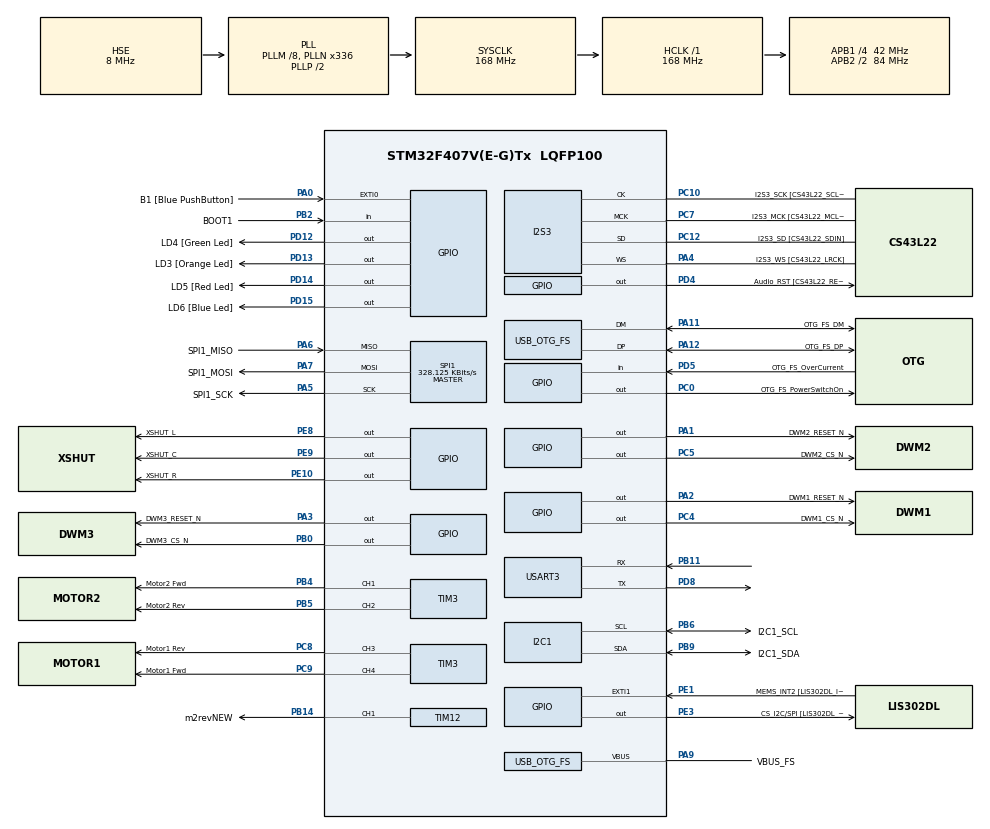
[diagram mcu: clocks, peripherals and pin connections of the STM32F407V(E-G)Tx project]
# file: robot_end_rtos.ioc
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FREERTOS.Tasks01=Motor_Task,24,1024,Start_MotorTask,Default,NULL,Dynamic,NULL,NULL;ObstDet_Task,32,1024,Start_ObstDet_Task,Default,NULL,Dynamic,NULL,NULL;TrackUser_Task,40,1024,Start_TrackUser_Task,Default,NULL,Dynamic,NULL,NULL
FREERTOS.configUSE_NEWLIB_REENTRANT=1
I2S3.AudioFreq-Half_Duplex_Master=I2S_AUDIOFREQ_96K
I2S3.ErrorAudioFreq=-2.34 %
I2S3.ErrorAudioFreq-Half_Duplex_Master=0.8 %
I2S3.FullDuplexMode=I2S_FULLDUPLEXMODE_DISABLE
I2S3.Instance=SPI$Index
I2S3.RealAudioFreq=93.75 KHz
I2S3.RealAudioFreq-Half_Duplex_Master=96.774 KHz
I2S3.VirtualMode=I2S_MODE_MASTER
Mcu.Family=STM32F4
Mcu.Name=STM32F407V(E-G)Tx
Mcu.Package=LQFP100
NVIC.OTG_FS_IRQn=true\:5\:0\:false\:false\:true\:true\:true\:true\:true
NVIC.PriorityGroup=NVIC_PRIORITYGROUP_4
NVIC.TIM1_UP_TIM10_IRQn=true\:15\:0\:false\:false\:true\:false\:false\:true\:true
NVIC.TimeBase=TIM1_UP_TIM10_IRQn
NVIC.TimeBaseIP=TIM1
PA0-WKUP.GPIO_Label=B1 [Blue PushButton]
PA0-WKUP.GPIO_ModeDefaultEXTI=GPIO_MODE_EVT_RISING
PA0-WKUP.GPIO_PuPd=GPIO_NOPULL
PA0-WKUP.Signal=GPXTI0
PA1.GPIO_Label=DWM2_RESET_N
PA1.GPIO_ModeDefaultOutputPP=GPIO_MODE_OUTPUT_OD
PA1.GPIO_PuPd=GPIO_PULLUP
PA1.Signal=GPIO_Output
PA10.GPIO_Label=OTG_FS_ID
PA10.GPIO_Mode=GPIO_MODE_AF_PP
PA10.GPIO_PuPd=GPIO_NOPULL
PA10.GPIO_Speed=GPIO_SPEED_FREQ_LOW
PA10.Signal=USB_OTG_FS_ID
PA11.GPIO_Label=OTG_FS_DM
PA11.GPIO_Mode=GPIO_MODE_AF_PP
PA11.GPIO_PuPd=GPIO_NOPULL
PA11.GPIO_Speed=GPIO_SPEED_FREQ_LOW
PA11.Mode=Host_Only
PA11.Signal=USB_OTG_FS_DM
PA12.GPIO_Label=OTG_FS_DP
PA12.GPIO_Mode=GPIO_MODE_AF_PP
PA12.GPIO_PuPd=GPIO_NOPULL
PA12.GPIO_Speed=GPIO_SPEED_FREQ_LOW
PA12.Mode=Host_Only
PA12.Signal=USB_OTG_FS_DP
PA13.GPIO_Label=SWDIO
PA13.Mode=Serial_Wire
PA13.Signal=SYS_JTMS-SWDIO
PA14.GPIO_Label=SWCLK
PA14.Mode=Serial_Wire
PA14.Signal=SYS_JTCK-SWCLK
PA2.GPIO_Label=DWM1_RESET_N
PA2.GPIO_ModeDefaultOutputPP=GPIO_MODE_OUTPUT_OD
PA2.GPIO_PuPd=GPIO_PULLUP
PA2.Signal=GPIO_Output
PA3.GPIO_Label=DWM3_RESET_N
PA3.GPIO_ModeDefaultOutputPP=GPIO_MODE_OUTPUT_OD
PA3.GPIO_PuPd=GPIO_PULLUP
PA3.Signal=GPIO_Output
PA4.GPIO_Label=I2S3_WS [CS43L22_LRCK]
PA4.GPIO_Mode=GPIO_MODE_AF_PP
PA4.GPIO_PuPd=GPIO_NOPULL
PA4.GPIO_Speed=GPIO_SPEED_FREQ_LOW
PA4.Mode=Half_Duplex_Master
PA4.Signal=I2S3_WS
PA5.GPIO_Label=SPI1_SCK
PA5.GPIO_Mode=GPIO_MODE_AF_PP
PA5.GPIO_PuPd=GPIO_NOPULL
PA5.GPIO_Speed=GPIO_SPEED_FREQ_VERY_HIGH
PA5.Mode=Full_Duplex_Master
PA5.Signal=SPI1_SCK
PA6.GPIO_Label=SPI1_MISO
PA6.GPIO_Mode=GPIO_MODE_AF_PP
PA6.GPIO_PuPd=GPIO_NOPULL
PA6.GPIO_Speed=GPIO_SPEED_FREQ_VERY_HIGH
PA6.Mode=Full_Duplex_Master
PA6.Signal=SPI1_MISO
PA7.GPIO_Label=SPI1_MOSI
PA7.GPIO_Mode=GPIO_MODE_AF_PP
PA7.GPIO_PuPd=GPIO_NOPULL
PA7.GPIO_Speed=GPIO_SPEED_FREQ_VERY_HIGH
PA7.Mode=Full_Duplex_Master
PA7.Signal=SPI1_MOSI
PA9.GPIO_Label=VBUS_FS
PA9.GPIO_Mode=GPIO_MODE_INPUT
PA9.GPIO_PuPd=GPIO_NOPULL
PA9.Mode=Activate_VBUS
PA9.Signal=USB_OTG_FS_VBUS
PB0.GPIO_Label=DWM3_CS_N
PB0.GPIO_Speed=GPIO_SPEED_FREQ_HIGH
PB0.PinState=GPIO_PIN_SET
PB0.Signal=GPIO_Output
PB10.GPIO_Label=CLK_IN [MP45DT02_CLK]
PB10.GPIO_Mode=GPIO_MODE_AF_PP
PB10.GPIO_PuPd=GPIO_NOPULL
PB10.GPIO_Speed=GPIO_SPEED_FREQ_LOW
PB10.Signal=I2S2_CK
PB11.Mode=Asynchronous
PB11.Signal=USART3_RX
PB14.GPIO_Label=m2revNEW
PB14.Signal=S_TIM12_CH1
PB2.GPIO_Label=BOOT1
PB2.GPIO_Mode=GPIO_MODE_INPUT
PB2.GPIO_PuPd=GPIO_NOPULL
PB2.Signal=GPIO_Input
PB3.GPIO_Label=SWO
PB3.Signal=SYS_JTDO-SWO
PB4.GPIO_Label=Motor2 Fwd
PB4.Signal=S_TIM3_CH1
PB5.GPIO_Label=Motor2 Rev
PB5.Signal=S_TIM3_CH2
PB6.GPIO_Label=I2C1_SCL
PB6.GPIO_Mode=GPIO_MODE_AF_OD
PB6.GPIO_Pu=GPIO_PULLUP
PB6.GPIO_PuPd=GPIO_NOPULL
PB6.GPIO_Speed=GPIO_SPEED_FREQ_LOW
PB6.Mode=I2C
PB6.Signal=I2C1_SCL
PB9.GPIO_Label=I2C1_SDA
PB9.GPIO_Mode=GPIO_MODE_AF_OD
PB9.GPIO_Pu=GPIO_PULLUP
PB9.GPIO_PuPd=GPIO_NOPULL
PB9.GPIO_Speed=GPIO_SPEED_FREQ_LOW
PB9.Mode=I2C
PB9.Signal=I2C1_SDA
PC0.GPIO_Label=OTG_FS_PowerSwitchOn
PC0.GPIO_PuPd=GPIO_NOPULL
PC0.GPIO_Speed=GPIO_SPEED_FREQ_LOW
PC0.PinState=GPIO_PIN_SET
PC0.Signal=GPIO_Output
PC10.GPIO_Label=I2S3_SCK [CS43L22_SCLK]
PC10.GPIO_Mode=GPIO_MODE_AF_PP
PC10.GPIO_PuPd=GPIO_NOPULL
PC10.GPIO_Speed=GPIO_SPEED_FREQ_LOW
PC10.Mode=Half_Duplex_Master
PC10.Signal=I2S3_CK
PC12.GPIO_Label=I2S3_SD [CS43L22_SDIN]
PC12.GPIO_Mode=GPIO_MODE_AF_PP
PC12.GPIO_PuPd=GPIO_NOPULL
PC12.GPIO_Speed=GPIO_SPEED_FREQ_LOW
PC12.Mode=Half_Duplex_Master
PC12.Signal=I2S3_SD
PC14-OSC32_IN.GPIO_Label=PC14-OSC32_IN
PC14-OSC32_IN.Mode=LSE-External-Oscillator
PC14-OSC32_IN.Signal=RCC_OSC32_IN
PC15-OSC32_OUT.GPIO_Label=PC15-OSC32_OUT
PC15-OSC32_OUT.Mode=LSE-External-Oscillator
PC15-OSC32_OUT.Signal=RCC_OSC32_OUT
PC3.GPIO_Label=PDM_OUT [MP45DT02_DOUT]
PC3.GPIO_Mode=GPIO_MODE_AF_PP
PC3.GPIO_PuPd=GPIO_NOPULL
PC3.GPIO_Speed=GPIO_SPEED_FREQ_LOW
PC3.Signal=I2S2_SD
PC4.GPIO_Label=DWM1_CS_N
PC4.GPIO_Speed=GPIO_SPEED_FREQ_HIGH
PC4.PinState=GPIO_PIN_SET
PC4.Signal=GPIO_Output
PC5.GPIO_Label=DWM2_CS_N
PC5.GPIO_Speed=GPIO_SPEED_FREQ_HIGH
PC5.PinState=GPIO_PIN_SET
PC5.Signal=GPIO_Output
PC7.GPIO_Label=I2S3_MCK [CS43L22_MCLK]
PC7.GPIO_Mode=GPIO_MODE_AF_PP
PC7.GPIO_PuPd=GPIO_NOPULL
PC7.GPIO_Speed=GPIO_SPEED_FREQ_LOW
PC7.Mode=Master_Clock_Activated
PC7.Signal=I2S3_MCK
PC8.GPIO_Label=Motor1 Rev
PC8.Signal=S_TIM3_CH3
PC9.GPIO_Label=Motor1 Fwd
PC9.Signal=S_TIM3_CH4
PD12.GPIO_Label=LD4 [Green Led]
PD12.GPIO_PuPd=GPIO_NOPULL
PD12.GPIO_Speed=GPIO_SPEED_FREQ_LOW
PD12.Signal=GPIO_Output
PD13.GPIO_Label=LD3 [Orange Led]
PD13.GPIO_PuPd=GPIO_NOPULL
PD13.GPIO_Speed=GPIO_SPEED_FREQ_LOW
PD13.Signal=GPIO_Output
PD14.GPIO_Label=LD5 [Red Led]
PD14.GPIO_PuPd=GPIO_NOPULL
PD14.GPIO_Speed=GPIO_SPEED_FREQ_LOW
PD14.Signal=GPIO_Output
PD15.GPIO_Label=LD6 [Blue Led]
PD15.GPIO_PuPd=GPIO_NOPULL
PD15.GPIO_Speed=GPIO_SPEED_FREQ_LOW
PD15.Signal=GPIO_Output
PD4.GPIO_Label=Audio_RST [CS43L22_RESET]
PD4.GPIO_PuPd=GPIO_NOPULL
PD4.GPIO_Speed=GPIO_SPEED_FREQ_LOW
PD4.Signal=GPIO_Output
PD5.GPIO_Label=OTG_FS_OverCurrent
PD5.GPIO_Mode=GPIO_MODE_INPUT
PD5.GPIO_PuPd=GPIO_NOPULL
PD5.Signal=GPIO_Input
PD8.Mode=Asynchronous
PD8.Signal=USART3_TX
PE1.GPIO_Label=MEMS_INT2 [LIS302DL_INT2]
PE1.GPIO_ModeDefaultEXTI=GPIO_MODE_EVT_RISING
PE1.GPIO_PuPd=GPIO_NOPULL
PE1.Signal=GPXTI1
PE10.GPIO_Label=XSHUT_R
PE10.Signal=GPIO_Output
PE3.GPIO_Label=CS_I2C/SPI [LIS302DL_CS_I2C/SPI]
PE3.GPIO_PuPd=GPIO_NOPULL
PE3.GPIO_Speed=GPIO_SPEED_FREQ_LOW
PE3.PinState=GPIO_PIN_SET
PE3.Signal=GPIO_Output
PE8.GPIO_Label=XSHUT_L
PE8.Signal=GPIO_Output
PE9.GPIO_Label=XSHUT_C
PE9.Signal=GPIO_Output
PH0-OSC_IN.GPIO_Label=PH0-OSC_IN
PH0-OSC_IN.Mode=HSE-External-Oscillator
PH0-OSC_IN.Signal=RCC_OSC_IN
PH1-OSC_OUT.GPIO_Label=PH1-OSC_OUT
PH1-OSC_OUT.Mode=HSE-External-Oscillator
PH1-OSC_OUT.Signal=RCC_OSC_OUT
ProjectManager.HeapSize=0x200
ProjectManager.StackSize=0x400
ProjectManager.TargetToolchain=STM32CubeIDE
RCC.48MHZClocksFreq_Value=48000000
RCC.AHBFreq_Value=168000000
RCC.APB1CLKDivider=RCC_HCLK_DIV4
RCC.APB1Freq_Value=42000000
RCC.APB1TimFreq_Value=84000000
RCC.APB2CLKDivider=RCC_HCLK_DIV2
RCC.APB2Freq_Value=84000000
RCC.APB2TimFreq_Value=168000000
RCC.CortexFreq_Value=168000000
RCC.HCLKFreq_Value=168000000
RCC.HSE_VALUE=8000000
RCC.HSI_VALUE=16000000
RCC.PLLM=8
RCC.PLLN=336
RCC.PLLQ=7
RCC.SYSCLKFreq_VALUE=168000000
RCC.SYSCLKSource=RCC_SYSCLKSOURCE_PLLCLK
RCC.VCOOutputFreq_Value=336000000
SH.S_TIM12_CH1.0=TIM12_CH1,PWM Generation1 CH1
SH.S_TIM3_CH1.0=TIM3_CH1,PWM Generation1 CH1
SH.S_TIM3_CH2.0=TIM3_CH2,PWM Generation2 CH2
SH.S_TIM3_CH3.0=TIM3_CH3,PWM Generation3 CH3
SH.S_TIM3_CH4.0=TIM3_CH4,PWM Generation4 CH4
SPI1.BaudRatePrescaler=SPI_BAUDRATEPRESCALER_256
SPI1.BaudRatePrescaler-Full_Duplex_Master=SPI_BAUDRATEPRESCALER_2
SPI1.CalculateBaudRate=328.125 KBits/s
SPI1.CalculateBaudRate-Full_Duplex_Master=42.0 MBits/s
SPI1.Direction=SPI_DIRECTION_2LINES
SPI1.Mode=SPI_MODE_MASTER
SPI1.Mode-Full_Duplex_Master=SPI_MODE_MASTER
SPI1.VirtualType=VM_MASTER
TIM12.Channel-PWM\ Generation1\ CH1=TIM_CHANNEL_1
TIM3.Channel-PWM\ Generation1\ CH1=TIM_CHANNEL_1
TIM3.Channel-PWM\ Generation2\ CH2=TIM_CHANNEL_2
TIM3.Channel-PWM\ Generation3\ CH3=TIM_CHANNEL_3
TIM3.Channel-PWM\ Generation4\ CH4=TIM_CHANNEL_4
USART3.VirtualMode=VM_ASYNC
USB_HOST.BSP.number=1
USB_HOST.USBH_HandleTypeDef-CDC_FS=hUsbHostFS
USB_HOST.VirtualModeFS=Cdc
USB_HOST0.BSP.STBoard=false
USB_HOST0.BSP.api=Unknown
USB_HOST0.BSP.instance=PC0
USB_HOST0.BSP.ip=GPIO
USB_HOST0.BSP.mode=Output
USB_HOST0.BSP.name=Drive_VBUS_FS
USB_HOST0.BSP.solution=PC0
USB_OTG_FS.VirtualMode=Host_Only
USB_OTG_FS.phy_itface=HCD_PHY_EMBEDDED
VP_FREERTOS_VS_CMSIS_V2.Mode=CMSIS_V2
VP_SYS_VS_tim1.Mode=TIM1
VP_USB_HOST_VS_USB_HOST_CDC_FS.Mode=CDC_FS
board=STM32F407G-DISC1

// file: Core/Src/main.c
/* USER CODE BEGIN Header */
/**
  ******************************************************************************
  * @file           : main.c
  * @brief          : Main program body
  ******************************************************************************
  * @attention
  *
  * Copyright (c) 2026 STMicroelectronics.
  * All rights reserved.
  *
  * This software is licensed under terms that can be found in the LICENSE file
  * in the root directory of this software component.
  * If no LICENSE file comes with this software, it is provided AS-IS.
  *
  ******************************************************************************
  */
/* USER CODE END Header */
#include "main.h"
#include "cmsis_os.h"
#include "usb_host.h"

/* USER CODE BEGIN Includes */
#include "VL53L1X_api.h"
#include "VL53l1X_calibration.h"
#include "motor_hw.h"
#include "obst_det.h"
#include "dwm_triangulation.h"
#include "dwm1000.h"
/* USER CODE END Includes */

I2C_HandleTypeDef hi2c1;

I2S_HandleTypeDef hi2s3;

SPI_HandleTypeDef hspi1;

TIM_HandleTypeDef htim3;
TIM_HandleTypeDef htim12;

UART_HandleTypeDef huart3;

/* Definitions for Motor_Task */
osThreadId_t Motor_TaskHandle;
const osThreadAttr_t Motor_Task_attributes = {
  .name = "Motor_Task",
  .stack_size = 1024 * 4,
  .priority = (osPriority_t) osPriorityNormal,
};
/* Definitions for ObstDet_Task */
osThreadId_t ObstDet_TaskHandle;
const osThreadAttr_t ObstDet_Task_attributes = {
  .name = "ObstDet_Task",
  .stack_size = 1024 * 4,
  .priority = (osPriority_t) osPriorityAboveNormal,
};
/* Definitions for TrackUser_Task */
osThreadId_t TrackUser_TaskHandle;
const osThreadAttr_t TrackUser_Task_attributes = {
  .name = "TrackUser_Task",
  .stack_size = 1024 * 4,
  .priority = (osPriority_t) osPriorityHigh,
};
/* USER CODE BEGIN PV */

#define VL53_ADDR   (0x29 << 1)   // 0x52

uint16_t count = 0;

RemotePosition remote_pos = {
	.valid = 0
};

bool standby;

uint8_t device_id_1[4] = {0};
uint8_t device_id_2[4] = {0};

/* USER CODE END PV */

void SystemClock_Config(void);
static void MX_GPIO_Init(void);
static void MX_I2C1_Init(void);
static void MX_I2S3_Init(void);
static void MX_SPI1_Init(void);
static void MX_USART3_UART_Init(void);
static void MX_TIM3_Init(void);
static void MX_TIM12_Init(void);
void Start_MotorTask(void *argument);
void Start_ObstDet_Task(void *argument);
void Start_TrackUser_Task(void *argument);

int main(void)
{

  /* MCU Configuration--------------------------------------------------------*/

  /* Reset of all peripherals, Initializes the Flash interface and the Systick. */
  HAL_Init();

  /* Configure the system clock */
  SystemClock_Config();

  /* Initialize all configured peripherals */
  MX_GPIO_Init();
  MX_I2C1_Init();
  MX_I2S3_Init();
  MX_SPI1_Init();
  MX_USART3_UART_Init();
  MX_TIM3_Init();
  MX_TIM12_Init();

  /* Init scheduler */
  osKernelInitialize();

  /* Create the thread(s) */
  /* creation of Motor_Task */
  Motor_TaskHandle = osThreadNew(Start_MotorTask, NULL, &Motor_Task_attributes);

  /* creation of ObstDet_Task */
  ObstDet_TaskHandle = osThreadNew(Start_ObstDet_Task, NULL, &ObstDet_Task_attributes);

  /* creation of TrackUser_Task */
  TrackUser_TaskHandle = osThreadNew(Start_TrackUser_Task, NULL, &TrackUser_Task_attributes);

  /* Start scheduler */
  osKernelStart();

  /* We should never get here as control is now taken by the scheduler */

  /* Infinite loop */
  while (1)
  {

  }
}

void SystemClock_Config(void)
{
  RCC_OscInitTypeDef RCC_OscInitStruct = {0};
  RCC_ClkInitTypeDef RCC_ClkInitStruct = {0};

  /** Configure the main internal regulator output voltage
  */
  __HAL_RCC_PWR_CLK_ENABLE();
  __HAL_PWR_VOLTAGESCALING_CONFIG(PWR_REGULATOR_VOLTAGE_SCALE1);

  /** Initializes the RCC Oscillators according to the specified parameters
  * in the RCC_OscInitTypeDef structure.
  */
  RCC_OscInitStruct.OscillatorType = RCC_OSCILLATORTYPE_HSE;
  RCC_OscInitStruct.HSEState = RCC_HSE_ON;
  RCC_OscInitStruct.PLL.PLLState = RCC_PLL_ON;
  RCC_OscInitStruct.PLL.PLLSource = RCC_PLLSOURCE_HSE;
  RCC_OscInitStruct.PLL.PLLM = 8;
  RCC_OscInitStruct.PLL.PLLN = 336;
  RCC_OscInitStruct.PLL.PLLP = RCC_PLLP_DIV2;
  RCC_OscInitStruct.PLL.PLLQ = 7;
  if (HAL_RCC_OscConfig(&RCC_OscInitStruct) != HAL_OK)
  {
    Error_Handler();
  }

  /** Initializes the CPU, AHB and APB buses clocks
  */
  RCC_ClkInitStruct.ClockType = RCC_CLOCKTYPE_HCLK|RCC_CLOCKTYPE_SYSCLK
                              |RCC_CLOCKTYPE_PCLK1|RCC_CLOCKTYPE_PCLK2;
  RCC_ClkInitStruct.SYSCLKSource = RCC_SYSCLKSOURCE_PLLCLK;
  RCC_ClkInitStruct.AHBCLKDivider = RCC_SYSCLK_DIV1;
  RCC_ClkInitStruct.APB1CLKDivider = RCC_HCLK_DIV4;
  RCC_ClkInitStruct.APB2CLKDivider = RCC_HCLK_DIV2;

  if (HAL_RCC_ClockConfig(&RCC_ClkInitStruct, FLASH_LATENCY_5) != HAL_OK)
  {
    Error_Handler();
  }
}

static void MX_I2C1_Init(void)
{

  hi2c1.Instance = I2C1;
  hi2c1.Init.ClockSpeed = 100000;
  hi2c1.Init.DutyCycle = I2C_DUTYCYCLE_2;
  hi2c1.Init.OwnAddress1 = 0;
  hi2c1.Init.AddressingMode = I2C_ADDRESSINGMODE_7BIT;
  hi2c1.Init.DualAddressMode = I2C_DUALADDRESS_DISABLE;
  hi2c1.Init.OwnAddress2 = 0;
  hi2c1.Init.GeneralCallMode = I2C_GENERALCALL_DISABLE;
  hi2c1.Init.NoStretchMode = I2C_NOSTRETCH_DISABLE;
  if (HAL_I2C_Init(&hi2c1) != HAL_OK)
  {
    Error_Handler();
  }

}

static void MX_I2S3_Init(void)
{

  hi2s3.Instance = SPI3;
  hi2s3.Init.Mode = I2S_MODE_MASTER_TX;
  hi2s3.Init.Standard = I2S_STANDARD_PHILIPS;
  hi2s3.Init.DataFormat = I2S_DATAFORMAT_16B;
  hi2s3.Init.MCLKOutput = I2S_MCLKOUTPUT_ENABLE;
  hi2s3.Init.AudioFreq = I2S_AUDIOFREQ_96K;
  hi2s3.Init.CPOL = I2S_CPOL_LOW;
  hi2s3.Init.ClockSource = I2S_CLOCK_PLL;
  hi2s3.Init.FullDuplexMode = I2S_FULLDUPLEXMODE_DISABLE;
  if (HAL_I2S_Init(&hi2s3) != HAL_OK)
  {
    Error_Handler();
  }

}

static void MX_SPI1_Init(void)
{

  /* SPI1 parameter configuration*/
  hspi1.Instance = SPI1;
  hspi1.Init.Mode = SPI_MODE_MASTER;
  hspi1.Init.Direction = SPI_DIRECTION_2LINES;
  hspi1.Init.DataSize = SPI_DATASIZE_8BIT;
  hspi1.Init.CLKPolarity = SPI_POLARITY_LOW;
  hspi1.Init.CLKPhase = SPI_PHASE_1EDGE;
  hspi1.Init.NSS = SPI_NSS_SOFT;
  hspi1.Init.BaudRatePrescaler = SPI_BAUDRATEPRESCALER_256;
  hspi1.Init.FirstBit = SPI_FIRSTBIT_MSB;
  hspi1.Init.TIMode = SPI_TIMODE_DISABLE;
  hspi1.Init.CRCCalculation = SPI_CRCCALCULATION_DISABLE;
  hspi1.Init.CRCPolynomial = 10;
  if (HAL_SPI_Init(&hspi1) != HAL_OK)
  {
    Error_Handler();
  }

}

static void MX_TIM3_Init(void)
{

  TIM_MasterConfigTypeDef sMasterConfig = {0};
  TIM_OC_InitTypeDef sConfigOC = {0};

  htim3.Instance = TIM3;
  htim3.Init.Prescaler = 0;
  htim3.Init.CounterMode = TIM_COUNTERMODE_UP;
  htim3.Init.Period = 65535;
  htim3.Init.ClockDivision = TIM_CLOCKDIVISION_DIV1;
  htim3.Init.AutoReloadPreload = TIM_AUTORELOAD_PRELOAD_DISABLE;
  if (HAL_TIM_PWM_Init(&htim3) != HAL_OK)
  {
    Error_Handler();
  }
  sMasterConfig.MasterOutputTrigger = TIM_TRGO_RESET;
  sMasterConfig.MasterSlaveMode = TIM_MASTERSLAVEMODE_DISABLE;
  if (HAL_TIMEx_MasterConfigSynchronization(&htim3, &sMasterConfig) != HAL_OK)
  {
    Error_Handler();
  }
  sConfigOC.OCMode = TIM_OCMODE_PWM1;
  sConfigOC.Pulse = 0;
  sConfigOC.OCPolarity = TIM_OCPOLARITY_HIGH;
  sConfigOC.OCFastMode = TIM_OCFAST_DISABLE;
  if (HAL_TIM_PWM_ConfigChannel(&htim3, &sConfigOC, TIM_CHANNEL_1) != HAL_OK)
  {
    Error_Handler();
  }
  if (HAL_TIM_PWM_ConfigChannel(&htim3, &sConfigOC, TIM_CHANNEL_2) != HAL_OK)
  {
    Error_Handler();
  }
  if (HAL_TIM_PWM_ConfigChannel(&htim3, &sConfigOC, TIM_CHANNEL_3) != HAL_OK)
  {
    Error_Handler();
  }
  if (HAL_TIM_PWM_ConfigChannel(&htim3, &sConfigOC, TIM_CHANNEL_4) != HAL_OK)
  {
    Error_Handler();
  }
  HAL_TIM_MspPostInit(&htim3);

}

static void MX_TIM12_Init(void)
{

  TIM_OC_InitTypeDef sConfigOC = {0};

  htim12.Instance = TIM12;
  htim12.Init.Prescaler = 0;
  htim12.Init.CounterMode = TIM_COUNTERMODE_UP;
  htim12.Init.Period = 65535;
  htim12.Init.ClockDivision = TIM_CLOCKDIVISION_DIV1;
  htim12.Init.AutoReloadPreload = TIM_AUTORELOAD_PRELOAD_DISABLE;
  if (HAL_TIM_PWM_Init(&htim12) != HAL_OK)
  {
    Error_Handler();
  }
  sConfigOC.OCMode = TIM_OCMODE_PWM1;
  sConfigOC.Pulse = 0;
  sConfigOC.OCPolarity = TIM_OCPOLARITY_HIGH;
  sConfigOC.OCFastMode = TIM_OCFAST_DISABLE;
  if (HAL_TIM_PWM_ConfigChannel(&htim12, &sConfigOC, TIM_CHANNEL_1) != HAL_OK)
  {
    Error_Handler();
  }
  HAL_TIM_MspPostInit(&htim12);

}

static void MX_USART3_UART_Init(void)
{

  huart3.Instance = USART3;
  huart3.Init.BaudRate = 115200;
  huart3.Init.WordLength = UART_WORDLENGTH_8B;
  huart3.Init.StopBits = UART_STOPBITS_1;
  huart3.Init.Parity = UART_PARITY_NONE;
  huart3.Init.Mode = UART_MODE_TX_RX;
  huart3.Init.HwFlowCtl = UART_HWCONTROL_NONE;
  huart3.Init.OverSampling = UART_OVERSAMPLING_16;
  if (HAL_UART_Init(&huart3) != HAL_OK)
  {
    Error_Handler();
  }

}

static void MX_GPIO_Init(void)
{
  GPIO_InitTypeDef GPIO_InitStruct = {0};

  /* GPIO Ports Clock Enable */
  __HAL_RCC_GPIOE_CLK_ENABLE();
  __HAL_RCC_GPIOC_CLK_ENABLE();
  __HAL_RCC_GPIOH_CLK_ENABLE();
  __HAL_RCC_GPIOA_CLK_ENABLE();
  __HAL_RCC_GPIOB_CLK_ENABLE();
  __HAL_RCC_GPIOD_CLK_ENABLE();

  /*Configure GPIO pin Output Level */
  HAL_GPIO_WritePin(CS_I2C_SPI_GPIO_Port, CS_I2C_SPI_Pin, GPIO_PIN_SET);

  /*Configure GPIO pin Output Level */
  HAL_GPIO_WritePin(GPIOC, OTG_FS_PowerSwitchOn_Pin|DWM1_CS_N_Pin|DWM2_CS_N_Pin, GPIO_PIN_SET);

  /*Configure GPIO pin Output Level */
  HAL_GPIO_WritePin(GPIOA, DWM2_RESET_N_Pin|DWM1_RESET_N_Pin|DWM3_RESET_N_Pin, GPIO_PIN_RESET);

  /*Configure GPIO pin Output Level */
  HAL_GPIO_WritePin(DWM3_CS_N_GPIO_Port, DWM3_CS_N_Pin, GPIO_PIN_SET);

  /*Configure GPIO pin Output Level */
  HAL_GPIO_WritePin(GPIOE, XSHUT_L_Pin|XSHUT_C_Pin|XSHUT_R_Pin, GPIO_PIN_RESET);

  /*Configure GPIO pin Output Level */
  HAL_GPIO_WritePin(GPIOD, LD4_Pin|LD3_Pin|LD5_Pin|LD6_Pin
                          |Audio_RST_Pin, GPIO_PIN_RESET);

  /*Configure GPIO pins : CS_I2C_SPI_Pin XSHUT_L_Pin XSHUT_C_Pin XSHUT_R_Pin */
  GPIO_InitStruct.Pin = CS_I2C_SPI_Pin|XSHUT_L_Pin|XSHUT_C_Pin|XSHUT_R_Pin;
  GPIO_InitStruct.Mode = GPIO_MODE_OUTPUT_PP;
  GPIO_InitStruct.Pull = GPIO_NOPULL;
  GPIO_InitStruct.Speed = GPIO_SPEED_FREQ_LOW;
  HAL_GPIO_Init(GPIOE, &GPIO_InitStruct);

  /*Configure GPIO pin : OTG_FS_PowerSwitchOn_Pin */
  GPIO_InitStruct.Pin = OTG_FS_PowerSwitchOn_Pin;
  GPIO_InitStruct.Mode = GPIO_MODE_OUTPUT_PP;
  GPIO_InitStruct.Pull = GPIO_NOPULL;
  GPIO_InitStruct.Speed = GPIO_SPEED_FREQ_LOW;
  HAL_GPIO_Init(OTG_FS_PowerSwitchOn_GPIO_Port, &GPIO_InitStruct);

  /*Configure GPIO pin : PDM_OUT_Pin */
  GPIO_InitStruct.Pin = PDM_OUT_Pin;
  GPIO_InitStruct.Mode = GPIO_MODE_AF_PP;
  GPIO_InitStruct.Pull = GPIO_NOPULL;
  GPIO_InitStruct.Speed = GPIO_SPEED_FREQ_LOW;
  GPIO_InitStruct.Alternate = GPIO_AF5_SPI2;
  HAL_GPIO_Init(PDM_OUT_GPIO_Port, &GPIO_InitStruct);

  /*Configure GPIO pin : B1_Pin */
  GPIO_InitStruct.Pin = B1_Pin;
  GPIO_InitStruct.Mode = GPIO_MODE_EVT_RISING;
  GPIO_InitStruct.Pull = GPIO_NOPULL;
  HAL_GPIO_Init(B1_GPIO_Port, &GPIO_InitStruct);

  /*Configure GPIO pins : DWM2_RESET_N_Pin DWM1_RESET_N_Pin DWM3_RESET_N_Pin */
  GPIO_InitStruct.Pin = DWM2_RESET_N_Pin|DWM1_RESET_N_Pin|DWM3_RESET_N_Pin;
  GPIO_InitStruct.Mode = GPIO_MODE_OUTPUT_OD;
  GPIO_InitStruct.Pull = GPIO_PULLUP;
  GPIO_InitStruct.Speed = GPIO_SPEED_FREQ_LOW;
  HAL_GPIO_Init(GPIOA, &GPIO_InitStruct);

  /*Configure GPIO pins : DWM1_CS_N_Pin DWM2_CS_N_Pin */
  GPIO_InitStruct.Pin = DWM1_CS_N_Pin|DWM2_CS_N_Pin;
  GPIO_InitStruct.Mode = GPIO_MODE_OUTPUT_PP;
  GPIO_InitStruct.Pull = GPIO_NOPULL;
  GPIO_InitStruct.Speed = GPIO_SPEED_FREQ_HIGH;
  HAL_GPIO_Init(GPIOC, &GPIO_InitStruct);

  /*Configure GPIO pin : DWM3_CS_N_Pin */
  GPIO_InitStruct.Pin = DWM3_CS_N_Pin;
  GPIO_InitStruct.Mode = GPIO_MODE_OUTPUT_PP;
  GPIO_InitStruct.Pull = GPIO_NOPULL;
  GPIO_InitStruct.Speed = GPIO_SPEED_FREQ_HIGH;
  HAL_GPIO_Init(DWM3_CS_N_GPIO_Port, &GPIO_InitStruct);

  /*Configure GPIO pin : BOOT1_Pin */
  GPIO_InitStruct.Pin = BOOT1_Pin;
  GPIO_InitStruct.Mode = GPIO_MODE_INPUT;
  GPIO_InitStruct.Pull = GPIO_NOPULL;
  HAL_GPIO_Init(BOOT1_GPIO_Port, &GPIO_InitStruct);

  /*Configure GPIO pin : CLK_IN_Pin */
  GPIO_InitStruct.Pin = CLK_IN_Pin;
  GPIO_InitStruct.Mode = GPIO_MODE_AF_PP;
  GPIO_InitStruct.Pull = GPIO_NOPULL;
  GPIO_InitStruct.Speed = GPIO_SPEED_FREQ_LOW;
  GPIO_InitStruct.Alternate = GPIO_AF5_SPI2;
  HAL_GPIO_Init(CLK_IN_GPIO_Port, &GPIO_InitStruct);

  /*Configure GPIO pins : LD4_Pin LD3_Pin LD5_Pin LD6_Pin
                           Audio_RST_Pin */
  GPIO_InitStruct.Pin = LD4_Pin|LD3_Pin|LD5_Pin|LD6_Pin
                          |Audio_RST_Pin;
  GPIO_InitStruct.Mode = GPIO_MODE_OUTPUT_PP;
  GPIO_InitStruct.Pull = GPIO_NOPULL;
  GPIO_InitStruct.Speed = GPIO_SPEED_FREQ_LOW;
  HAL_GPIO_Init(GPIOD, &GPIO_InitStruct);

  /*Configure GPIO pin : OTG_FS_OverCurrent_Pin */
  GPIO_InitStruct.Pin = OTG_FS_OverCurrent_Pin;
  GPIO_InitStruct.Mode = GPIO_MODE_INPUT;
  GPIO_InitStruct.Pull = GPIO_NOPULL;
  HAL_GPIO_Init(OTG_FS_OverCurrent_GPIO_Port, &GPIO_InitStruct);

  /*Configure GPIO pin : MEMS_INT2_Pin */
  GPIO_InitStruct.Pin = MEMS_INT2_Pin;
  GPIO_InitStruct.Mode = GPIO_MODE_EVT_RISING;
  GPIO_InitStruct.Pull = GPIO_NOPULL;
  HAL_GPIO_Init(MEMS_INT2_GPIO_Port, &GPIO_InitStruct);

}

void Start_MotorTask(void *argument)
{
  /* init code for USB_HOST */
  /* USER CODE BEGIN 5 */
  MX_USB_HOST_Init();
  MotorHW_Init();

  for(;;)
  {
      MotorHW_TaskStep();
      count++;
      osDelay(20);
  }
  /* USER CODE END 5 */
}

void Start_ObstDet_Task(void *argument)
{
  /* USER CODE BEGIN Start_ObstDet_Task */
	int status;

	/* Reset sensor data */
	for(int i = 0; i < TOF_SENSOR_COUNT; i++)
		ToF_ResetData(&ToF_DATA[i]);

	/* Assign I2C addresses */
	ToF_AssignAddresses();

	/* Initialize sensors */
	for(int i = 0; i < TOF_SENSOR_COUNT; i++)
		status = ToF_InitSensor(tofAddresses[i], &ToF_DATA[i]);
  /* Infinite loop */
	for(;;)
	{
		ToF_UpdateSensors();
		osDelay(20);
	}
  /* USER CODE END Start_ObstDet_Task */
}

void Start_TrackUser_Task(void *argument)
{
  /* USER CODE BEGIN Start_TrackUser_Task */
//	RemotePosition remote_pos = {
//				.valid = 0
//		};
//
//		bool standby;

	DWM_Triangulation_Init(&hspi1);
  /* Infinite loop */
	for(;;)
	  {
		  DWM_Triangulation_TaskStep();

		  DWM_Triangulation_GetPosition(&remote_pos);
		  standby = get_standby_state();

		osDelay(10);
	  }
  /* USER CODE END Start_TrackUser_Task */
}

void HAL_TIM_PeriodElapsedCallback(TIM_HandleTypeDef *htim)
{
  if (htim->Instance == TIM1)
  {
    HAL_IncTick();
  }
}

void Error_Handler(void)
{
  __disable_irq();
  while (1)
  {
  }
}
